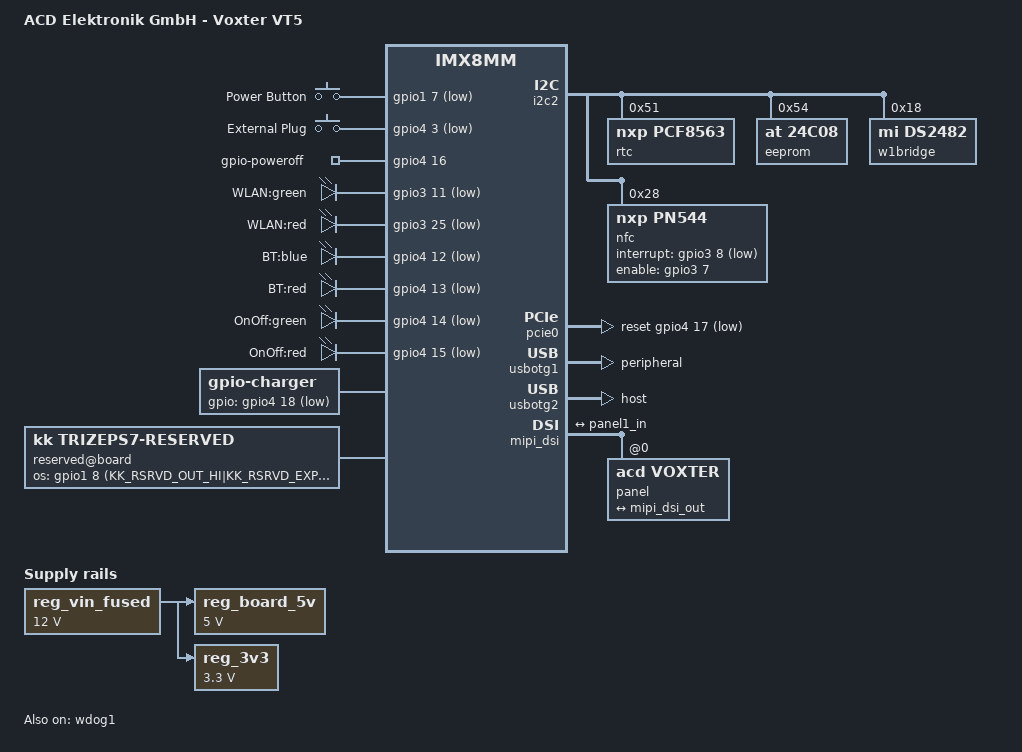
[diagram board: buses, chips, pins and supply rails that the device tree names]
/*
 * Copyright 2022 ACD Gruppe
 *
 */

/dts-v1/;

// Add defines here, which control behaviour of .dtsi:

#include "trizeps8mini.dtsi"
// #include "imx8mm-pinfunc-overlay.h"

/ {
	model      = "ACD Elektronik GmbH - Voxter VT5";
	compatible = "acd,voxter", "kk,trizeps8", "kk,trizeps8mini", "fsl,imx8mm-evk", "fsl,imx8mm";

	chosen {
		stdout-path = &uart1;
	};
};

&iomuxc {

	pinctrl-names = "default";
	pinctrl-0 = <&pinctrl_hog>;

	pinctrl_hog: hoggrp {
		fsl,pins = <
			/* Outputs */
			SPIN102_GPIO			MX8MM_PAD_GPIO        /* AUDIO_ENABLE  SODIMM pin 102 GPIO1_IO8 */
			SPIN57_GPIO			MX8MM_PAD_GPIO        /* RST_BT        SODIMM pin  57 GPIO4_IO4 */
			SPIN111_GPIO			MX8MM_PAD_GPIO_OD_NP  /* VCC_M.2_ON    SODIMM pin 111 GPIO3_IO6 */
			/* Inputs */
			SPIN126_GPIO			MX8MM_PAD_GPIO        /* nBackup_ON    SODIMM pin 126 GPIO4_IO10*/
			SPIN128_GPIO			MX8MM_PAD_GPIO        /* nU_Akku_ON    SODIMM pin 128 GPIO4_IO11*/
			SPIN132_GPIO			MX8MM_PAD_GPIO        /* Akku_removed  SODIMM pin 132 GPIO3_IO12*/
			/* Hardware revisions */
			SPIN61_GPIO			MX8MM_PAD_GPIO        /* HW_Rev0       SODIMM pin  61 GPIO4_IO5 */
			SPIN63_GPIO			MX8MM_PAD_GPIO        /* HW_Rev1       SODIMM pin  63 GPIO4_IO6 */
			SPIN65_GPIO			MX8MM_PAD_GPIO        /* HW_Rev2       SODIMM pin  65 GPIO4_IO7 */
			SPIN67_GPIO			MX8MM_PAD_GPIO        /* HW_Rev3       SODIMM pin  67 GPIO4_IO8 */
			SPIN69_GPIO			MX8MM_PAD_GPIO        /* HW_Rev4       SODIMM pin  69 GPIO5_IO2 */
			SPIN71_GPIO			MX8MM_PAD_GPIO        /* HW_Rev5       SODIMM pin  71 GPIO4_IO9 */
			SPIN73_GPIO			MX8MM_PAD_GPIO        /* HW_Rev6       SODIMM pin  73 GPIO3_IO22*/
			SPIN75_GPIO			MX8MM_PAD_GPIO        /* HW_Rev7       SODIMM pin  75 GPIO3_IO23*/
		>;
	};

	pinctrl_gpio_keys: gpio_keys_grp
	{
		fsl,pins = <
			MX8MM_IOMUXC_GPIO1_IO07_GPIO1_IO7  MX8MM_PAD_GPIO    /* On/Off_INT  SODIMM pin 43 */
			MX8MM_IOMUXC_SAI1_RXD1_GPIO4_IO3   MX8MM_PAD_GPIO    /* Reset Plug  SODIMM pin 53 */
		
		>;
	};

	pinctrl_gpio_poweroff: gpio_poweroff_grp
	{
		fsl,pins = <MX8MM_IOMUXC_SAI1_TXD4_GPIO4_IO16  MX8MM_PAD_GPIO>;  /* Power_OFF  SODIMM pin 118 */
	};

	pinctrl_gpio_leds: gpio_leds_grp
	{
		fsl,pins = <
			MX8MM_IOMUXC_NAND_DATA05_GPIO3_IO11  MX8MM_PAD_GPIO  /* WLAN LED green    SODIMM pin 104 */
			MX8MM_IOMUXC_SAI5_MCLK_GPIO3_IO25    MX8MM_PAD_GPIO  /* WLAN LED red      SODIMM pin 106 */
			MX8MM_IOMUXC_SAI1_TXD0_GPIO4_IO12    MX8MM_PAD_GPIO  /* BT LED blue       SODIMM pin 110 */
			MX8MM_IOMUXC_SAI1_TXD1_GPIO4_IO13    MX8MM_PAD_GPIO  /* BT LED red        SODIMM pin 112 */
			MX8MM_IOMUXC_SAI1_TXD2_GPIO4_IO14    MX8MM_PAD_GPIO  /* On/Off LED green  SODIMM pin 114 */
			MX8MM_IOMUXC_SAI1_TXD3_GPIO4_IO15    MX8MM_PAD_GPIO  /* On/Off LED red    SODIMM pin 116 */
		>;
	};

	pinctrl_gpio_charger: gpio_charger_grp
	{
		fsl,pins = <MX8MM_IOMUXC_SAI1_TXD6_GPIO4_IO18  MX8MM_PAD_GPIO>;  /* DS_Connected  SODIMM pin 122 */
	};
	
	pinctrl_pcie_ext: pcie_ext_grp {
		fsl,pins = <
			MX8MM_IOMUXC_I2C4_SCL_GPIO5_IO20     0x61   /* open drain, pull up -- emulated clkreq! (V1R2)  SODIMM pin 115 */
			MX8MM_IOMUXC_SAI1_TXD5_GPIO4_IO17    0x41   /* PCIE2_RESET      SODIMM pin 120 */
			MX8MM_IOMUXC_NAND_DATA07_GPIO3_IO13  0x41   /* PCIE2_WAKE       SODIMM pin 154 */
		>;
	};

	pinctrl_bt_uart: bt_uart_grp {
		fsl,pins = <
			MX8MM_IOMUXC_UART4_TXD_UART2_DCE_RTS_B  0x140  /* SODIMM pin 32 */
			MX8MM_IOMUXC_UART4_RXD_UART2_DCE_CTS_B  0x140  /* SODIMM pin 34 */
			MX8MM_IOMUXC_UART2_RXD_UART2_DCE_RX     0x140  /* SODIMM pin 36 */
			MX8MM_IOMUXC_UART2_TXD_UART2_DCE_TX     0x140  /* SODIMM pin 38 */
		>;
	};

	pinctrl_wdog: wdoggrp {
		fsl,pins = < MX8MM_IOMUXC_GPIO1_IO02_WDOG1_WDOG_B		0xc6 >;
	};

	pinctrl_nfc: nfc_grp {
		fsl,pins = <
			MX8MM_IOMUXC_NAND_DATA01_GPIO3_IO7  MX8MM_PAD_GPIO  /* NFC_VEN  SODIMM pin 113 */
			MX8MM_IOMUXC_NAND_DATA02_GPIO3_IO8  MX8MM_PAD_GPIO  /* NFC_IRQ  SODIMM pin 117 */
		>;
	};

	pinctrl_usbhost_enable: usbhost-enable 	{
		fsl,pins = < SPIN129_GPIO		PAD_GPIO >; /* USBH_PWR */
	};

	pinctrl_usbotg_enable: usbotg-enable 	{
		fsl,pins = < SPIN127_GPIO		PAD_GPIO >; /* USBOTG_PWR */
	};
};

/ {
	reg_vin_fused: vin_fused {
		compatible = "regulator-fixed";
		regulator-name = "VIN_FUSED";
		regulator-min-microvolt = <12000000>;
		/* max	should be 24V but the fixed regulator driver does
		not allow a range here */
		regulator-max-microvolt = <12000000>;
		regulator-always-on;
	};

	reg_board_5v: 5v {
		compatible = "regulator-fixed";
		regulator-name = "+5V";
		regulator-min-microvolt = <5000000>;
		regulator-max-microvolt = <5000000>;
		regulator-always-on;
		vin-supply = <&reg_vin_fused>;
	};

	reg_3v3: 3v3 {
		compatible = "regulator-fixed";
		regulator-name = "+3V3";
		regulator-min-microvolt = <3300000>;
		regulator-max-microvolt = <3300000>;
		regulator-always-on;
		vin-supply = <&reg_vin_fused>;
	};

	gpio-keys {
		compatible = "gpio-keys";
		pinctrl-names = "default";
		pinctrl-0 = <&pinctrl_gpio_keys>;

		/* Reconfig to power key in Android*/
		power {
			label = "Power Button";
			gpios = <&gpio1 7 GPIO_ACTIVE_LOW>;  /* On/Off_INT  SODIMM pin 43 */
			linux,code = <116>; /* KEY_POWER */
			gpio-key,wakeup;
		};

		external-plug {
			label = "External Plug";
			gpios = <&gpio4 3 GPIO_ACTIVE_LOW>;  /* ext_GPIO  SODIMM pin  53 */
			linux,code = <599>; /* EXTERNAL_PLUG */
			gpio-key;
        };
	};

	gpio-poweroff {
		compatible = "gpio-poweroff";
		pinctrl-names = "default";
		pinctrl-0 = <&pinctrl_gpio_poweroff>;
		gpios = <&gpio4 16 GPIO_ACTIVE_HIGH>;  /* Power_OFF  SODIMM pin 118 */
	};

	gpio-leds {
		compatible = "gpio-leds";
		pinctrl-names = "default";
		pinctrl-0 = <&pinctrl_gpio_leds>;

		wlan-led-green {
			label = "WLAN:green";
			gpios = <&gpio3 11 GPIO_ACTIVE_LOW>;  /* WLAN LED green  SODIMM pin 104 */
			default-state = "keep";
		};

		wlan-led-red {
			label = "WLAN:red";
			gpios = <&gpio3 25 GPIO_ACTIVE_LOW>;  /* WLAN LED red  SODIMM pin 106 */
			default-state = "keep";
		};

		bt-led-blue {
			label = "BT:blue";
			gpios = <&gpio4 12 GPIO_ACTIVE_LOW>;  /* BT LED blue  SODIMM pin 110 */
			default-state = "keep";
		};

		bt-led-red {
			label = "BT:red";
			gpios = <&gpio4 13 GPIO_ACTIVE_LOW>;  /* BT LED red  SODIMM pin 112 */
			default-state = "keep";
		};

		onoff-led-green {
			label = "OnOff:green";
			gpios = <&gpio4 14 GPIO_ACTIVE_LOW>;  /* On/Off LED green  SODIMM pin 114 */
			default-state = "keep";
		};

		onoff-led-red {
			label = "OnOff:red";
			gpios = <&gpio4 15 GPIO_ACTIVE_LOW>;  /* On/Off LED red  SODIMM pin 116 */
			default-state = "keep";
		};
	};

	charger: gpio-charger {
		compatible = "gpio-charger";
		pinctrl-names = "default";
		pinctrl-0 = <&pinctrl_gpio_charger>;
		charger-type = "mains";
		gpios = <&gpio4 18 GPIO_ACTIVE_LOW>;  /* DS_Connected  SODIMM pin 122 */
	};

	reserved@board {
		compatible     = "kk,trizeps7-reserved";
		kk,gpio-names  = /* Outputs */
		                 "AUDIO_ENABLE", "RST_BT", "VCC_M.2_ON",
		                 /* Inputs */
		                 "nBackup_ON", "Akku_removed",
		                 /* Hardware revision */
		                 "HW_Rev0", "HW_Rev1", "HW_Rev2", "HW_Rev3", "HW_Rev4", "HW_Rev5", "HW_Rev6", "HW_Rev7";
		kk,os-gpios    = <
			/*
			 * Outputs
			 * 1.8 	= 	AUDIO_ENABLE  SODIMM pin 102 
			 * 4.4  =	RST_BT        SODIMM pin  57 
			 * 3.6	=	VCC_M.2_ON    SODIMM pin 111 
			 *
			 * Inputs
			 * 4.10	=	nBackup_ON    SODIMM pin 126
			 * 3.12 =	Akku_removed  SODIMM pin 132
			 *
			 * Hardware revision (inputs)
			 * 4.5	= 	HW_Rev0       SODIMM pin  61
			 * 4.6	=  	HW_Rev1       SODIMM pin  63
			 * 4.7 	= 	HW_Rev2       SODIMM pin  65
			 * 4.8 	= 	HW_Rev3       SODIMM pin  67
			 * 5.2 	= 	HW_Rev4       SODIMM pin  69
			 * 4.9 	= 	HW_Rev5       SODIMM pin  71
		 	 * 3.22 = 	HW_Rev6       SODIMM pin  73
	 		 * 3.23 = 	HW_Rev7       SODIMM pin  75
			 */
			
			&gpio1  8 (KK_RSRVD_OUT_HI|KK_RSRVD_EXPORT|KK_RSRVD_REQUEST(0))  
			&gpio4  4 (KK_RSRVD_OUT_HI|KK_RSRVD_EXPORT|KK_RSRVD_REQUEST(1))  
			&gpio3  6 (KK_RSRVD_OUT_HI|KK_RSRVD_EXPORT|KK_RSRVD_REQUEST(2))  
			&gpio4 10 (KK_RSRVD_IN    |KK_RSRVD_EXPORT|KK_RSRVD_REQUEST(3))  
			&gpio3 12 (KK_RSRVD_IN    |KK_RSRVD_EXPORT|KK_RSRVD_REQUEST(4))  
			&gpio4  5 (KK_RSRVD_IN    |KK_RSRVD_EXPORT|KK_RSRVD_REQUEST(5))  
			&gpio4  6 (KK_RSRVD_IN    |KK_RSRVD_EXPORT|KK_RSRVD_REQUEST(6))  
			&gpio4  7 (KK_RSRVD_IN    |KK_RSRVD_EXPORT|KK_RSRVD_REQUEST(7))  
			&gpio4  8 (KK_RSRVD_IN    |KK_RSRVD_EXPORT|KK_RSRVD_REQUEST(8))  
			&gpio5  2 (KK_RSRVD_IN    |KK_RSRVD_EXPORT|KK_RSRVD_REQUEST(9))  
			&gpio4  9 (KK_RSRVD_IN    |KK_RSRVD_EXPORT|KK_RSRVD_REQUEST(10))  
			&gpio3 22 (KK_RSRVD_IN    |KK_RSRVD_EXPORT|KK_RSRVD_REQUEST(11))  
			&gpio3 23 (KK_RSRVD_IN    |KK_RSRVD_EXPORT|KK_RSRVD_REQUEST(12))
		>;
	};

};

&i2c2 {
	rtc@51 { // RX-8564 Real Time Clock
		compatible = "nxp,pcf8563";
		reg = <0x51>;
	};

	eeprom@54 { // M24C08 8-Kbit EEPROM
		compatible = "at,24c08";
		#address-cells = <0x1>;
		#size-cells =<0x0>;
		pagesize = <16>;
		reg = <0x54>;
	};

	w1bridge@18 { // DS2482 1-Wire Master
		compatible = "mi,ds2482";
		#address-cells = <0x1>;
		#size-cells = <0x0>;
		reg = <0x18>;
	};

	nfc@28 { // PN7150 NFC controller
		compatible = "nxp,pn544";
		reg = <0x28>;
		pinctrl-names = "default";
		pinctrl-0 = <&pinctrl_nfc>;
		interrupt-gpios = <&gpio3 8 GPIO_ACTIVE_LOW>;   /* NFC_IRQ  SODIMM pin 117 */
		enable-gpios    = <&gpio3 7 GPIO_ACTIVE_HIGH>;  /* NFC_VEN  SODIMM pin 113 */
		status = "okay";
	};
};

&pcie0{
	pinctrl-0     = <&pinctrl_pcie_ext>;
	reset-gpio    = <&gpio4 17 GPIO_ACTIVE_LOW>;   /* PCIE2_RESET      SODIMM pin 120 */
};


&usbotg1 {
	dr_mode = "peripheral";
	-usb-role-switch;
	disable-over-current;
};

&usbotg2 {
	dr_mode = "host";
	-usb-role-switch;
	disable-over-current; 
};

&mipi_dsi {
	status = "okay";

	panel@0 {
		compatible = "acd,voxter";
		reg = <0>;
		port {
			panel1_in: endpoint {
				remote-endpoint = <&mipi_dsi_out>;
			};
		};
	};

	port@1 {
		mipi_dsi_out: endpoint {
			remote-endpoint = <&panel1_in>;
		};
	};
};

&wdog1 {
	pinctrl-names = "default";
	pinctrl-0 = <&pinctrl_wdog>;
	fsl,ext-reset-output;
	status = "okay";
};

&uart2 { // UART for external BT module
	pinctrl-0 = <&pinctrl_bt_uart>;
	fsl,uart-has-rtscts;
//	dmas = <&sdma1 24 4 0>, <&sdma1 25 4 0>;
	dma-names = "rx", "tx";
};

&uart3 { // UART for internal BT module
	status = "disabled";
};

&uart4 {
	status = "disabled";
};



